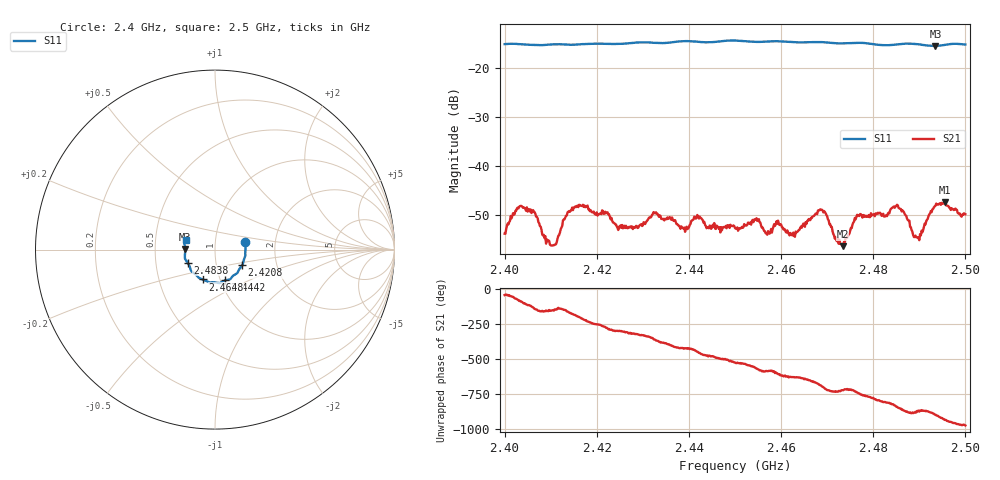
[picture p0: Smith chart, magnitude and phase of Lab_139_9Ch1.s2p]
# Hz S RI R 50
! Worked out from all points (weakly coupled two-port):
!   601 points, 2.4 GHz to 2.5 GHz, reference 50 ohm
!   highest |S21| = -47.40 dB at 2.4955 GHz (marker M1); lowest = -56.3 dB at 2.4733 GHz (marker M2)
!   lowest |S11| = -15.6 dB at 2.4935 GHz (marker M3), VSWR 1.40, Z = 35.8 + j0.2 ohm
!   |S11| at or under -10 dB: start of sweep to end of sweep
!   S12 and S22 are empty: the file has one direction only
!   S11 on the Smith chart (normalised r, x): 2.4 GHz: 1.40, +0.12; 2.4208 GHz: 1.33, -0.24; 2.4442 GHz: 1.05, -0.37; 2.4648 GHz: 0.83, -0.28; 2.4838 GHz: 0.73, -0.11; 2.5 GHz: 0.72, +0.08
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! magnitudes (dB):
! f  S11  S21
! 2.4 GHz  -15.2  -53.7
! 2.4038 GHz  -15.3  -48.3
! 2.4107 GHz  -15.3  -56.1
! 2.4135 GHz  -15.3  -50.0
! 2.4167 GHz  -15.3  -48.1
! 2.4208 GHz  -15.2  -49.6
! 2.4248 GHz  -15.2  -52.3
! 2.4333 GHz  -15.0  -50.0
! 2.4442 GHz  -14.9  -52.4
! 2.45 GHz  -14.5  -52.6
! 2.4648 GHz  -14.9  -51.7
! 2.4667 GHz  -14.8  -50.6
! 2.4692 GHz  -14.8  -49.4
! 2.4733 GHz  -15.1  -56.3
! 2.4768 GHz  -15.0  -50.1
! 2.4833 GHz  -15.5  -49.5
! 2.4838 GHz  -15.4  -48.7
! 2.4863 GHz  -15.2  -49.0
! 2.4895 GHz  -15.2  -54.5
! 2.4935 GHz  -15.6  -48.1
! 2.4955 GHz  -15.4  -47.4
! 2.5 GHz  -15.3  -49.8
